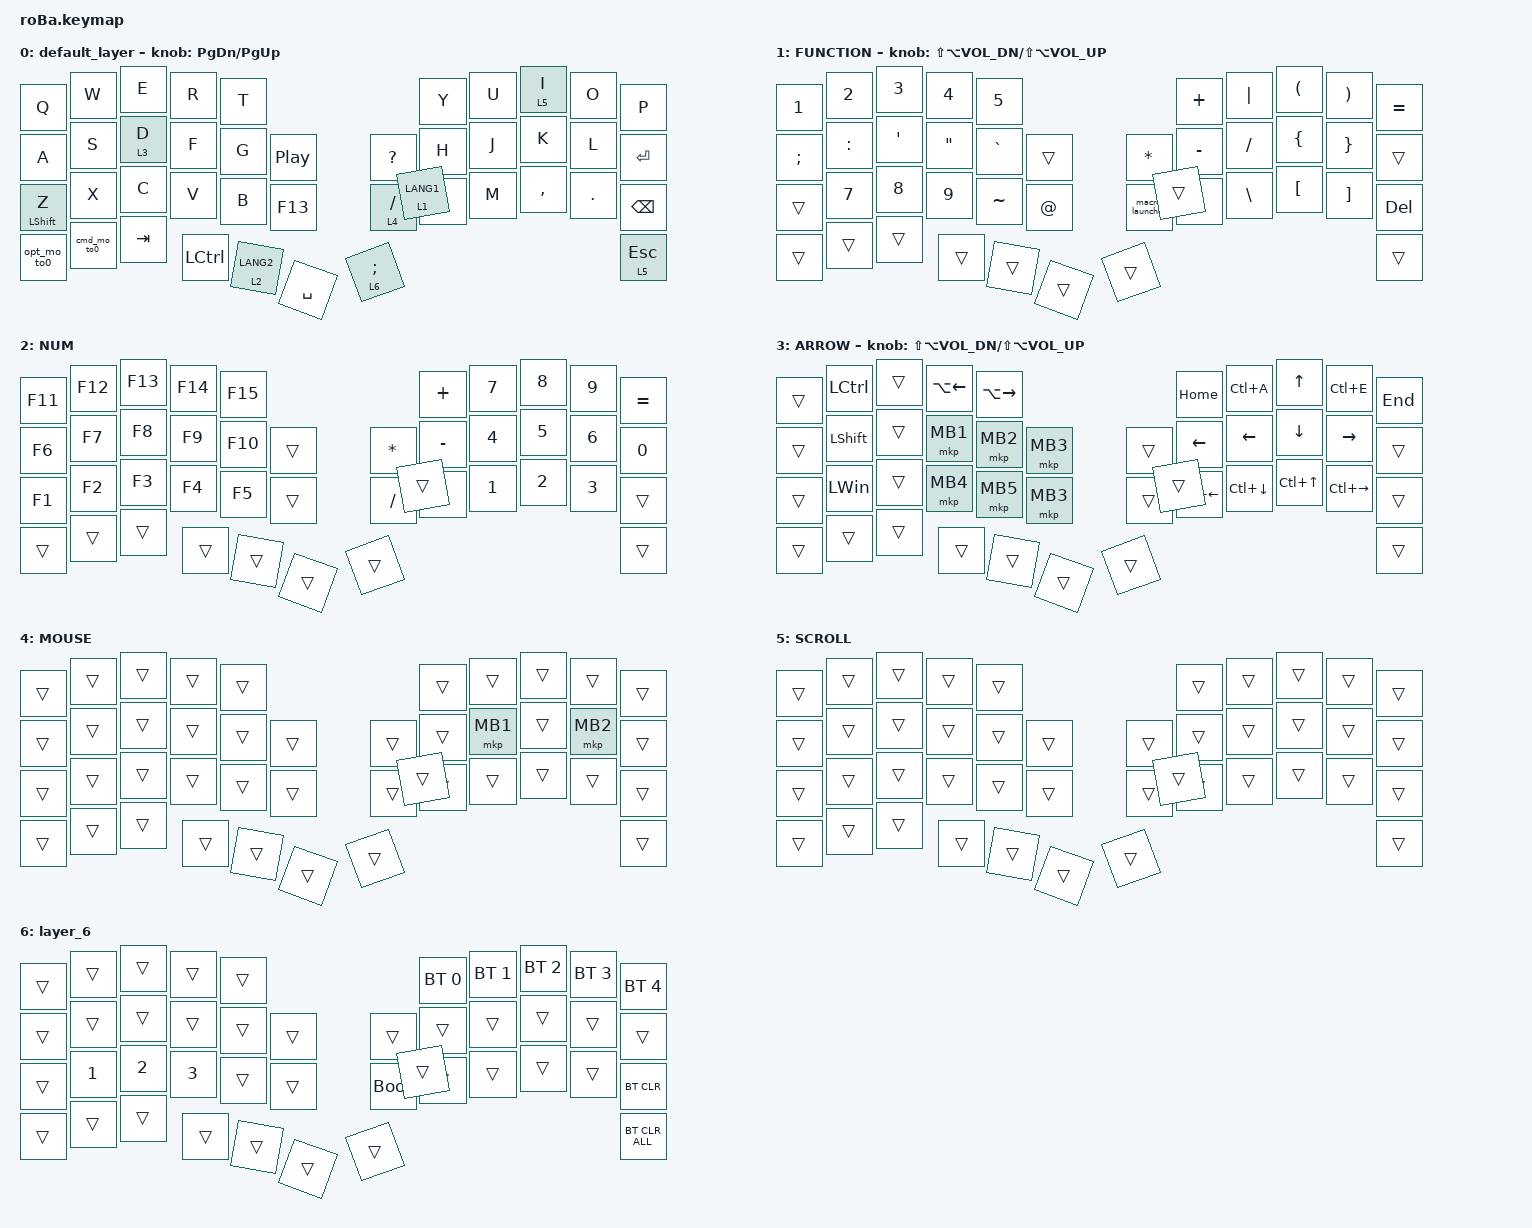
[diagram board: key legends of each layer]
#include <behaviors.dtsi>
#include <dt-bindings/zmk/bt.h>
#include <dt-bindings/zmk/keys.h>
#include <dt-bindings/zmk/pointing.h>

&mt {
    flavor = "balanced";
    tapping-term-ms = <250>;
    quick-tap-ms = <175>;
    require-prior-idle-ms = <125>;
};

&lt {
    flavor = "hold-preferred";
    tapping-term-ms = <200>;
};

&trackball {
    // ドライバ内蔵のオートマウス機能は無効化し、
    // trackball_listener 側の input-processor-temp-layer で代替する
    // (J/L・Shift/Option/Command 以外のキー入力で即レイヤー脱出するため)
    automouse-layer = <(-1)>;
    scroll-layers = <5>;

    // arrows {
    //     layers = <3>;
    //     bindings =
    //         <&kp RIGHT_ARROW>,
    //         <&kp LEFT_ARROW>,
    //         <&kp UP_ARROW>,
    //         <&kp DOWN_ARROW>;

    //     tick = <10>;
    //     wait-ms = <5>;
    //     tap-ms = <5>;
    // };
};

/ {
    combos {
        compatible = "zmk,combos";

        tab {
            bindings = <&kp TAB>;
            key-positions = <11 12>;
            layers = <0>;
        };

        shift_tab {
            bindings = <&kp LS(TAB)>;
            key-positions = <12 13>;
            layers = <0>;
        };


        double_quotation {
            bindings = <&kp DOUBLE_QUOTES>;
            key-positions = <16 17>;
            layers = <0>;
        };

        colon {
            bindings = <&kp COLON>;
            key-positions = <28 29>;
            layers = <0>;
        };


        // () + カーソル中へ (I+O)
        parens {
            bindings = <&macro_parens>;
            key-positions = <7 8>;
            layers = <0 1>;
        };

        // {} + カーソル中へ (K+L)
        braces {
            bindings = <&macro_braces>;
            key-positions = <19 20>;
            layers = <0>;
        };

        // [] + カーソル中へ (,+.)
        brackets {
            bindings = <&macro_brackets>;
            key-positions = <31 32>;
            layers = <0>;
        };

        // 「」+ カーソル中へ (K+L, FUNCTIONレイヤー)
        jp_kakko {
            bindings = <&macro_brackets>;
            key-positions = <19 20>;
            layers = <1>;
        };

        // 『』+ カーソル中へ (,+., FUNCTIONレイヤー)
        jp_nijuu_kakko {
            bindings = <&macro_braces>;
            key-positions = <31 32>;
            layers = <1>;
        };
        // V+B: 強制的にdefaultレイヤーへ戻す
        to_default {
            bindings = <&to 0>;
            key-positions = <25 26>;
        };

        // Cmd(35) + 英数(38): 左Cmd・右Cmd を同時に押した状態にする
        // LG(RIGHT_GUI) = 左GUIモディファイア付きの右GUIキー。
        // slow-release: 片方を離しても、両キーを離すまでCmd状態を保持する
        //               (モディファイアとして他キーと併用するため)
        cmd_both {
            bindings = <&kp LG(RIGHT_GUI)>;
            key-positions = <35 38>;
            layers = <0>;
            slow-release;
        };
    };

    macros {
        to_layer_0: to_layer_0 {
            compatible = "zmk,behavior-macro-one-param";
            #binding-cells = <1>;
            bindings = <&to 0 &macro_param_1to1 &kp MACRO_PLACEHOLDER>;
            label = "TO_LAYER_0";
        };

        // M0: () + カーソルを中へ
        macro_parens: macro_parens {
            compatible = "zmk,behavior-macro";
            #binding-cells = <0>;
            bindings = <&kp LPAR &kp RPAR &kp LEFT>;
            label = "MACRO_PARENS";
        };

        // M1: Ctrl+Gui+Space（ランチャー）
        macro_launcher: macro_launcher {
            compatible = "zmk,behavior-macro";
            #binding-cells = <0>;
            bindings = <&kp LC(LG(SPACE))>;
            label = "MACRO_LAUNCHER";
        };

        // M2: {} + カーソルを中へ
        macro_braces: macro_braces {
            compatible = "zmk,behavior-macro";
            #binding-cells = <0>;
            bindings = <&kp LBRC &kp RBRC &kp LEFT>;
            label = "MACRO_BRACES";
        };

        // M5: [] + カーソルを中へ
        macro_brackets: macro_brackets {
            compatible = "zmk,behavior-macro";
            #binding-cells = <0>;
            bindings = <&kp LBKT &kp RBKT &kp LEFT>;
            label = "MACRO_BRACKETS";
        };

        // M3: Alt+Space（ウィンドウ操作）
        macro_alt_space: macro_alt_space {
            compatible = "zmk,behavior-macro";
            #binding-cells = <0>;
            bindings = <&kp LA(SPACE)>;
            label = "MACRO_ALT_SPACE";
        };

        // M4: Alt+Shift+A（アプリショートカット）
        macro_alt_shift_a: macro_alt_shift_a {
            compatible = "zmk,behavior-macro";
            #binding-cells = <0>;
            bindings = <&kp LA(LS(A))>;
            label = "MACRO_ALT_SHIFT_A";
        };

        // Cmd: 押下中は LEFT_WIN 維持、リリース時にデフォルトレイヤーへ復帰
        // マウスレイヤー中に Cmd を空打ち→離す で layer 0 に戻り、続けて
        // Cmd+J/L などの通常ショートカットを発火できるようにする。
        cmd_mo_to0: cmd_mo_to0 {
            compatible = "zmk,behavior-macro";
            #binding-cells = <0>;
            wait-ms = <0>;
            tap-ms = <0>;
            bindings
                = <&macro_press &kp LEFT_WIN>
                , <&macro_pause_for_release>
                , <&macro_release &kp LEFT_WIN>
                , <&macro_tap &to 0>;
            label = "CMD_MO_TO0";
        };

        // Opt: Cmd と同様、リリース時にデフォルトレイヤーへ復帰
        opt_mo_to0: opt_mo_to0 {
            compatible = "zmk,behavior-macro";
            #binding-cells = <0>;
            wait-ms = <0>;
            tap-ms = <0>;
            bindings
                = <&macro_press &kp LEFT_ALT>
                , <&macro_pause_for_release>
                , <&macro_release &kp LEFT_ALT>
                , <&macro_tap &to 0>;
            label = "OPT_MO_TO0";
        };
    };

    behaviors {
        // ホームポジションキー用: タイピング中の誤発火防止
        lt_hp: lt_hp {
            compatible = "zmk,behavior-hold-tap";
            label = "LAYER_TAP_HOMEPOS";
            bindings = <&mo>, <&kp>;
            #binding-cells = <2>;
            flavor = "balanced";
            tapping-term-ms = <250>;
            quick-tap-ms = <175>;
            require-prior-idle-ms = <125>;
        };

        lt_to_layer_0: lt_to_layer_0 {
            compatible = "zmk,behavior-hold-tap";
            label = "LAYER_TAP_TO_0";
            bindings = <&mo>, <&to_layer_0>;

            #binding-cells = <2>;
            tapping-term-ms = <200>;
        };

        // Z 専用 Shift mod-tap
        // balanced だと「次キーが先にリリース」→ tap 判定になり、
        // 素早い打鍵では Shift が効かず lowercase z が出てしまう。
        // hold-trigger-on-release + 位置リストで、次キーが対象に含まれていれば
        // 先にリリースされても hold (Shift) として確定させる。
        // 位置リストは Z 自身(22)を除く全キー。
        mt_shift_z: mt_shift_z {
            compatible = "zmk,behavior-hold-tap";
            label = "MT_SHIFT_Z";
            bindings = <&kp>, <&kp>;
            #binding-cells = <2>;
            flavor = "balanced";
            tapping-term-ms = <250>;
            quick-tap-ms = <175>;
            require-prior-idle-ms = <125>;
            hold-trigger-on-release;
            hold-trigger-key-positions = <
                 0  1  2  3  4  5  6  7  8  9
                10 11 12 13 14 15 16 17 18 19
                20 21    23 24 25 26 27 28 29
                30 31 32 33 34 35 36 37 38 39
                40 41 42
            >;
        };
    };

    keymap {
        compatible = "zmk,keymap";

        default_layer {
            bindings = <
&kp Q                  &kp W         &kp E         &kp R                        &kp T                                                                          &kp Y              &kp U  &lt_hp 5 I    &kp O    &kp P
&kp A                  &kp S         &lt_hp 3 D     &kp F                        &kp G        &kp C_PLAY_PAUSE                           &kp QUESTION            &kp H              &kp J  &kp K      &kp L    &kp ENTER
&mt_shift_z LEFT_SHIFT Z  &kp X      &kp C         &kp V                        &kp B        &kp F13                                    &lt_to_layer_0 4 SLASH  &kp N              &kp M  &kp COMMA  &kp DOT  &kp BACKSPACE
&opt_mo_to0            &cmd_mo_to0   &kp TAB       &kp LCTRL   &lt 2 LANG2             &kp SPACE        &lt_to_layer_0 6 SEMICOLON  &lt 1 LANG1                                                             &lt 5 ESC
            >;

            sensor-bindings = <&inc_dec_kp PAGE_DOWN PG_UP>;
        };

        FUNCTION {
            bindings = <
&kp N1            &kp N2     &kp N3   &kp N4              &kp N5                                                   &kp PLUS       &kp PIPE           &kp LEFT_PARENTHESIS  &kp RIGHT_PARENTHESIS  &kp EQUAL
&kp SEMICOLON     &kp COLON  &kp SQT  &kp DOUBLE_QUOTES   &kp GRAVE      &trans                &kp ASTERISK        &kp MINUS      &kp SLASH          &kp LEFT_BRACE        &kp RIGHT_BRACE        &trans
&trans            &kp N7     &kp N8   &kp N9              &kp TILDE      &kp AT_SIGN           &macro_launcher     &kp UNDERSCORE &kp BACKSLASH      &kp LEFT_BRACKET      &kp RIGHT_BRACKET      &kp DELETE
&trans            &trans     &trans   &trans              &trans         &trans                &trans              &trans                                                                          &trans
            >;

            // macOS の Shift+Option+音量キー = 1/4ステップの細かい音量調整
            sensor-bindings = <&inc_dec_kp LS(LA(C_VOL_DN)) LS(LA(C_VOL_UP))>;
        };

        NUM {
            bindings = <
&kp F11   &kp F12   &kp F13   &kp F14   &kp F15                                                    &kp PLUS       &kp N7         &kp N8  &kp N9  &kp EQUAL
&kp F6    &kp F7    &kp F8    &kp F9    &kp F10  &trans              &kp ASTERISK    &kp MINUS      &kp N4         &kp N5  &kp N6  &kp N0
&kp F1    &kp F2    &kp F3    &kp F4    &kp F5   &trans              &kp SLASH       &kp UNDERSCORE &kp N1         &kp N2  &kp N3  &trans
&trans    &trans    &trans    &trans    &trans   &trans              &trans          &trans                                         &trans
            >;
        };

        ARROW {
            bindings = <
&trans          &kp LCTRL        &trans  &kp LA(LEFT_ARROW)  &kp LA(RIGHT_ARROW)                                       &kp HOME            &kp LC(A)               &kp UP_ARROW            &kp LC(E)                &kp END
&trans          &kp LEFT_SHIFT   &trans  &mkp MB1     &mkp MB2  &mkp MB3       &trans              &kp LEFT_ARROW      &kp LEFT_ARROW          &kp DOWN_ARROW          &kp RIGHT_ARROW          &trans
&trans          &kp LEFT_WIN     &trans  &mkp MB4     &mkp MB5  &mkp MB3       &trans              &kp LC(LEFT_ARROW)  &kp LC(DOWN_ARROW)      &kp LC(UP_ARROW)        &kp LC(RIGHT_ARROW)      &trans
&trans          &trans           &trans  &trans       &trans    &trans         &trans              &trans                                                                                        &trans
            >;

            // macOS の Shift+Option+音量キー = 1/4ステップの細かい音量調整
            sensor-bindings = <&inc_dec_kp LS(LA(C_VOL_DN)) LS(LA(C_VOL_UP))>;
        };

        MOUSE {
            bindings = <
&trans  &trans  &trans  &trans  &trans                      &trans  &trans    &trans    &trans    &trans
&trans  &trans  &trans  &trans  &trans  &trans      &trans  &trans  &mkp MB1  &trans    &mkp MB2  &trans
&trans  &trans  &trans  &trans  &trans  &trans      &trans  &trans  &trans    &trans    &trans    &trans
&trans  &trans  &trans  &trans  &trans  &trans      &trans  &trans                                &trans
            >;
        };

        SCROLL {
            bindings = <
&trans  &trans  &trans  &trans  &trans                      &trans  &trans  &trans  &trans  &trans
&trans  &trans  &trans  &trans  &trans  &trans      &trans  &trans  &trans  &trans  &trans  &trans
&trans  &trans  &trans  &trans  &trans  &trans      &trans  &trans  &trans  &trans  &trans  &trans
&trans  &trans  &trans  &trans  &trans  &trans      &trans  &trans                          &trans
            >;
        };

        layer_6 {
            bindings = <
&trans  &trans        &trans        &trans        &trans                           &bt BT_SEL 0  &bt BT_SEL 1  &bt BT_SEL 2  &bt BT_SEL 3  &bt BT_SEL 4
&trans  &trans        &trans        &trans        &trans  &trans      &trans       &trans        &trans        &trans        &trans        &trans
&trans  &kp NUMBER_1  &kp NUMBER_2  &kp NUMBER_3  &trans  &trans      &bootloader  &trans        &trans        &trans        &trans        &bt BT_CLR
&trans  &trans        &trans        &trans        &trans  &trans      &trans       &trans                                                  &bt BT_CLR_ALL
            >;
        };
    };
};
